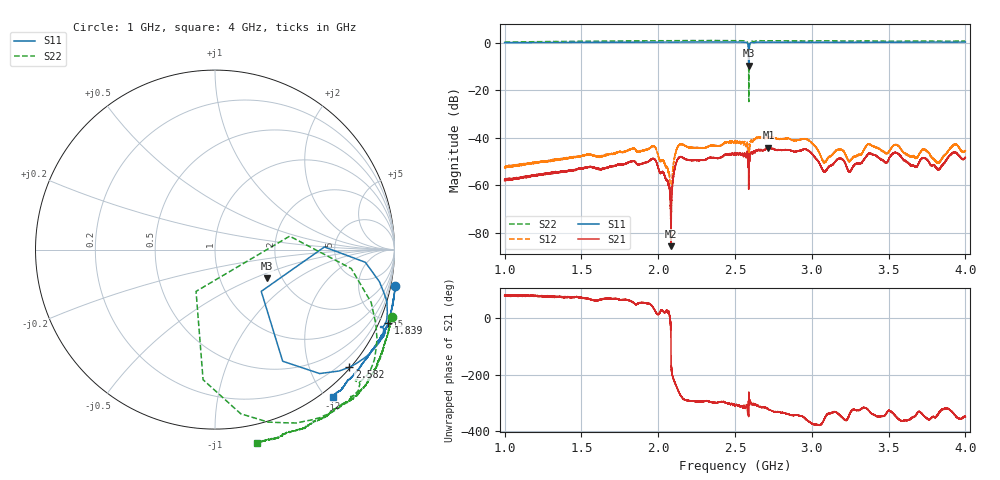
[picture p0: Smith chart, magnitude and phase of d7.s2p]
!Agilent Technologies,N5230C,SG49000117,A.08.50.07
!Agilent N5230C: A.08.50.07
!Date: Friday, May 17, 2024 22:55:32
!Correction: S11(Full 2 Port(1,2))
!S21(Full 2 Port(1,2))
!S12(Full 2 Port(1,2))
!S22(Full 2 Port(1,2))
!S2P File: Measurements: S11, S21, S12, S22:
# Hz S  MA  R 50
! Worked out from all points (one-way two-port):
!   20001 points, 1 GHz to 4 GHz, reference 50 ohm
!   highest |S21| = -44.18 dB at 2.718 GHz (marker M1); lowest = -85.8 dB at 2.083 GHz (marker M2)
!   lowest |S11| = -9.6 dB at 2.59 GHz (marker M3), VSWR 1.99, Z = 84.2 - j30.1 ohm
!   |S11| at or under -10 dB: nowhere
!   |S22| runs from -24.7 to 1.1 dB; largest |S21 - S12| = 0.0058
!   S11 on the Smith chart (normalised r, x): 1 GHz: -1.25, -9.75; 1.839 GHz: -0.59, -4.85; 2.582 GHz: 0.02, -2.66; 4 GHz: -0.13, -2.07
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1e9  1.026 -11.5  0.001249 79.6  0.002412 74.4  1.053 -21.0
1.5001e9  1.039 -19.0  0.002226 72.9  0.004112 60.0  1.089 -31.1
1.83865e9  1.048 -23.0  0.003247 55.4  0.005974 40.0  1.114 -36.8
2.00005e9  1.047 -24.6  0.002365 14.1  0.00412 -4.2  1.119 -39.9
2.08315e9  1.047 -25.2  5.153e-05 -85.8  0.0001418 -96.9  1.121 -40.4
2.11165e9  1.047 -25.4  0.002563 128.2  0.004661 109.9  1.124 -40.8
2.14075e9  1.051 -25.6  0.00394 92.3  0.007242 74.9  1.123 -40.8
2.5e9  1.05 -28.9  0.004746 50.0  0.008589 26.6  1.128 -48.5
2.57125e9  1.037 -34.2  0.004021 44.0  0.0068 18.0  1.104 -57.8
2.5816e9  0.9953 -41.2  0.004376 23.8  0.006486 -3.4  1.039 -68.3
2.58955e9  0.3315 -28.7  0.001779 95.8  0.001976 90.9  0.1535 -111.7
2.608e9  1.034 -22.6  0.005019 56.5  0.008989 38.4  1.096 -38.8
2.71795e9  1.046 -28.1  0.006183 37.3  0.0105 15.1  1.121 -47.8
3.0001e9  1.039 -32.9  0.004659 -12.7  0.007607 -36.4  1.112 -54.8
3.08155e9  1.04 -34.3  0.001936 1.8  0.003026 -22.6  1.117 -56.4
3.2488e9  1.039 -38.1  0.001942 23.5  0.003293 -4.3  1.109 -61.5
3.3706e9  1.04 -40.3  0.004628 33.1  0.007306 2.9  1.109 -64.1
3.50005e9  1.042 -42.5  0.003519 33.1  0.004985 -0.4  1.097 -67.8
3.7327e9  1.049 -47.3  0.003686 12.7  0.005703 -15.8  1.103 -72.9
3.8212e9  1.05 -48.4  0.002198 18.1  0.003054 -8.7  1.099 -75.2
3.9277e9  1.046 -50.4  0.005028 19.7  0.007178 -6.3  1.1 -77.3
4e9  1.051 -51.4  0.00382 11.2  0.005422 -18.9  1.106 -77.7
